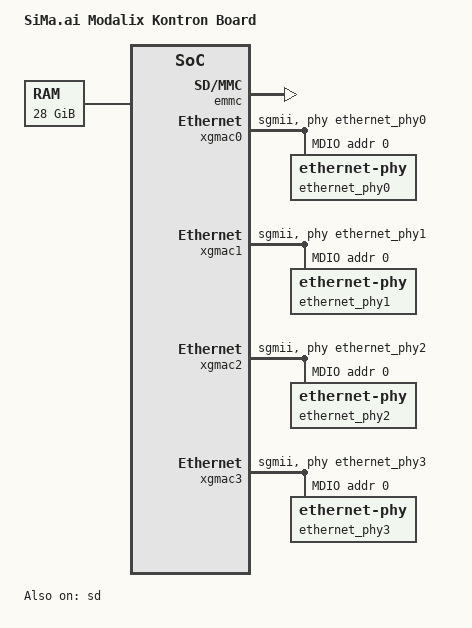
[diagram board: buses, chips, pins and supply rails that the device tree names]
// SPDX-License-Identifier: (GPL-2.0+ OR MIT)
/*
 * Copyright (c) 2026 SiMa ai
 */

/dts-v1/;

#include "simaai-modalix.dtsi"

/ {
	model = "SiMa.ai Modalix Kontron Board";

	chosen {
		bootargs = "console=ttyS0,1152000n8 root=/dev/ram0 rw rootfstype=ramfs";
	};

	aliases {
		console = &uart0;
		mmc0 = &emmc;
                mmc1 = &sd;
	};

	memory@1000000000 {
		device_type = "memory";
		reg = <0x10 0x00000000 0x7 0x00000000>;
	};
};

&uart1 {
	status = "disabled";
};

&uart2 {
	status = "disabled";
};

&emmc {
	status = "okay";
};

&sd {
	status = "okay";
};

&xgmac0 {
	phy-handle = <&ethernet_phy0>;
	phy-mode = "sgmii";
	max-speed = <1000>;
	managed = "in-band-status";
	status = "okay";

	mdio0 {
		compatible = "snps,dwmac-mdio";
		#address-cells = <1>;
		#size-cells = <0>;

		ethernet_phy0: ethernet-phy@0 {
			reg = <0>;
		};
	};
};

&xgmac1 {
        phy-handle = <&ethernet_phy1>;
        phy-mode = "sgmii";
        max-speed = <1000>;
        status = "okay";

        mdio1 {
                compatible = "snps,dwmac-mdio";
                #address-cells = <1>;
                #size-cells = <0>;

                ethernet_phy1: ethernet-phy@0 {
                        reg = <0>;
                };
        };
};

&xgmac2 {
        phy-handle = <&ethernet_phy2>;
        phy-mode = "sgmii";
        max-speed = <1000>;
        status = "okay";

        mdio2 {
                compatible = "snps,dwmac-mdio";
                #address-cells = <1>;
                #size-cells = <0>;

                ethernet_phy2: ethernet-phy@0 {
                        reg = <0>;
                };
        };
};

&xgmac3 {
        phy-handle = <&ethernet_phy3>;
        phy-mode = "sgmii";
        max-speed = <1000>;
        status = "okay";

        mdio3 {
                compatible = "snps,dwmac-mdio";
                #address-cells = <1>;
                #size-cells = <0>;

                ethernet_phy3: ethernet-phy@0 {
                        reg = <0>;
                };
        };
};
